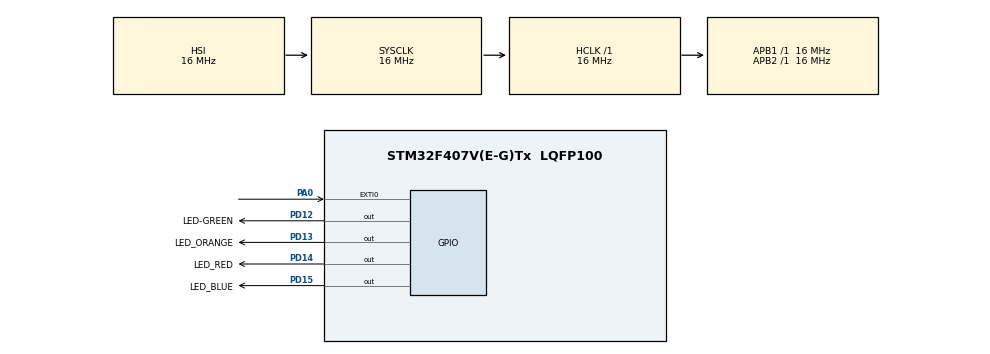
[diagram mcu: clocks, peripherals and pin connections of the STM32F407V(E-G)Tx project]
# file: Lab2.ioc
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Mcu.Family=STM32F4
Mcu.Name=STM32F407V(E-G)Tx
Mcu.Package=LQFP100
NVIC.EXTI0_IRQn=true\:0\:0\:false\:false\:true\:true\:true\:true
NVIC.PriorityGroup=NVIC_PRIORITYGROUP_4
PA0-WKUP.GPIO_ModeDefaultEXTI=GPIO_MODE_IT_RISING
PA0-WKUP.GPIO_PuPd=GPIO_PULLDOWN
PA0-WKUP.Signal=GPXTI0
PD12.GPIO_Label=LED-GREEN
PD12.GPIO_PuPd=GPIO_PULLDOWN
PD12.Signal=GPIO_Output
PD13.GPIO_Label=LED_ORANGE
PD13.GPIO_PuPd=GPIO_PULLDOWN
PD13.Signal=GPIO_Output
PD14.GPIO_Label=LED_RED
PD14.GPIO_PuPd=GPIO_PULLDOWN
PD14.Signal=GPIO_Output
PD15.GPIO_Label=LED_BLUE
PD15.GPIO_PuPd=GPIO_PULLDOWN
PD15.Signal=GPIO_Output
ProjectManager.HeapSize=0x200
ProjectManager.StackSize=0x400
ProjectManager.TargetToolchain=STM32CubeIDE
RCC.AHBFreq_Value=16000000
RCC.APB1Freq_Value=16000000
RCC.APB2Freq_Value=16000000
RCC.CortexFreq_Value=16000000
RCC.HSE_VALUE=25000000
RCC.HSI_VALUE=16000000
RCC.LSE_VALUE=32768
RCC.SYSCLKFreq_VALUE=16000000
RCC.VCOOutputFreq_Value=192000000
board=custom

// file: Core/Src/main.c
/* USER CODE BEGIN Header */
/**
  ******************************************************************************
  * @file           : main.c
  * @brief          : Main program body
  ******************************************************************************
  * @attention
  *
  * Copyright (c) 2024 STMicroelectronics.
  * All rights reserved.
  *
  * This software is licensed under terms that can be found in the LICENSE file
  * in the root directory of this software component.
  * If no LICENSE file comes with this software, it is provided AS-IS.
  *
  ******************************************************************************
  */
/* USER CODE END Header */
#include "main.h"

/* USER CODE BEGIN PD */
#define LED_SWITCH_DELAY (1000)
/* USER CODE END PD */

/* USER CODE BEGIN PV */
unsigned int ledN = 0;
/* USER CODE END PV */

void SystemClock_Config(void);
static void MX_GPIO_Init(void);

/* USER CODE BEGIN 0 */
void Blink(uint16_t GPIO_PIN){
		HAL_GPIO_WritePin(GPIOD, GPIO_PIN, GPIO_PIN_SET);
		HAL_Delay(250);
		HAL_GPIO_WritePin(GPIOD, GPIO_PIN, GPIO_PIN_RESET);
		HAL_Delay(250);
	}

void Round_Blink(){
	Blink(LED_BLUE_Pin);
	Blink(LED_GREEN_Pin);
	Blink(LED_ORANGE_Pin);
	Blink(LED_RED_Pin);
}
void Fan_Blink(){
	HAL_GPIO_WritePin(GPIOD, LED_BLUE_Pin, GPIO_PIN_SET);
	HAL_GPIO_WritePin(GPIOD, LED_ORANGE_Pin, GPIO_PIN_SET);
	HAL_Delay(250);
	HAL_GPIO_WritePin(GPIOD, LED_BLUE_Pin, GPIO_PIN_RESET);
	HAL_GPIO_WritePin(GPIOD, LED_ORANGE_Pin, GPIO_PIN_RESET);
	HAL_Delay(250);
	HAL_GPIO_WritePin(GPIOD, LED_GREEN_Pin, GPIO_PIN_SET);
	HAL_GPIO_WritePin(GPIOD, LED_RED_Pin, GPIO_PIN_SET);
	HAL_Delay(250);
	HAL_GPIO_WritePin(GPIOD, LED_GREEN_Pin, GPIO_PIN_RESET);
	HAL_GPIO_WritePin(GPIOD, LED_RED_Pin, GPIO_PIN_RESET);
	HAL_Delay(250);
}
void Blink_Diag()
{
	HAL_GPIO_WritePin(GPIOD, LED_BLUE_Pin, GPIO_PIN_SET);
	HAL_GPIO_WritePin(GPIOD, LED_GREEN_Pin, GPIO_PIN_SET);
	HAL_Delay(250);
	HAL_GPIO_WritePin(GPIOD, LED_BLUE_Pin, GPIO_PIN_RESET);
	HAL_GPIO_WritePin(GPIOD, LED_ORANGE_Pin, GPIO_PIN_SET);
	HAL_Delay(250);
	HAL_GPIO_WritePin(GPIOD, LED_GREEN_Pin, GPIO_PIN_RESET);
	HAL_GPIO_WritePin(GPIOD, LED_RED_Pin, GPIO_PIN_SET);
	HAL_Delay(250);
	HAL_GPIO_WritePin(GPIOD, LED_ORANGE_Pin, GPIO_PIN_RESET);
	HAL_GPIO_WritePin(GPIOD, LED_BLUE_Pin, GPIO_PIN_SET);
	HAL_Delay(250);
	HAL_GPIO_WritePin(GPIOD, LED_RED_Pin, GPIO_PIN_RESET);
}
void Whirl_Blink(){
	HAL_GPIO_WritePin(GPIOD, LED_BLUE_Pin, GPIO_PIN_SET);
	HAL_Delay(125);
	HAL_GPIO_WritePin(GPIOD, LED_GREEN_Pin, GPIO_PIN_SET);
	HAL_Delay(125);
	HAL_GPIO_WritePin(GPIOD, LED_ORANGE_Pin, GPIO_PIN_SET);
	HAL_Delay(125);
	HAL_GPIO_WritePin(GPIOD, LED_RED_Pin, GPIO_PIN_SET);
	HAL_Delay(125);
	HAL_GPIO_WritePin(GPIOD, LED_BLUE_Pin, GPIO_PIN_RESET);
	HAL_Delay(125);
	HAL_GPIO_WritePin(GPIOD, LED_GREEN_Pin, GPIO_PIN_RESET);
	HAL_Delay(125);
	HAL_GPIO_WritePin(GPIOD, LED_ORANGE_Pin, GPIO_PIN_RESET);
	HAL_Delay(125);
	HAL_GPIO_WritePin(GPIOD, LED_RED_Pin, GPIO_PIN_RESET);
	HAL_Delay(125);
}
/* USER CODE END 0 */

int main(void)
{

  /* MCU Configuration--------------------------------------------------------*/

  /* Reset of all peripherals, Initializes the Flash interface and the Systick. */
  HAL_Init();

  /* Configure the system clock */
  SystemClock_Config();

  /* Initialize all configured peripherals */
  MX_GPIO_Init();

  /* Infinite loop */
  while (1)
  {

    /* USER CODE BEGIN 3 */
		switch(ledN){
		case 0:
			Round_Blink();
			break;
		case 1:
			Fan_Blink();
			break;
		case 2:
			Blink_Diag();
			break;
		case 3:
			Whirl_Blink();
			break;
		}
  }
  /* USER CODE END 3 */
}

void SystemClock_Config(void)
{
  RCC_OscInitTypeDef RCC_OscInitStruct = {0};
  RCC_ClkInitTypeDef RCC_ClkInitStruct = {0};

  /** Configure the main internal regulator output voltage
  */
  __HAL_RCC_PWR_CLK_ENABLE();
  __HAL_PWR_VOLTAGESCALING_CONFIG(PWR_REGULATOR_VOLTAGE_SCALE1);

  /** Initializes the RCC Oscillators according to the specified parameters
  * in the RCC_OscInitTypeDef structure.
  */
  RCC_OscInitStruct.OscillatorType = RCC_OSCILLATORTYPE_HSI;
  RCC_OscInitStruct.HSIState = RCC_HSI_ON;
  RCC_OscInitStruct.HSICalibrationValue = RCC_HSICALIBRATION_DEFAULT;
  RCC_OscInitStruct.PLL.PLLState = RCC_PLL_NONE;
  if (HAL_RCC_OscConfig(&RCC_OscInitStruct) != HAL_OK)
  {
    Error_Handler();
  }

  /** Initializes the CPU, AHB and APB buses clocks
  */
  RCC_ClkInitStruct.ClockType = RCC_CLOCKTYPE_HCLK|RCC_CLOCKTYPE_SYSCLK
                              |RCC_CLOCKTYPE_PCLK1|RCC_CLOCKTYPE_PCLK2;
  RCC_ClkInitStruct.SYSCLKSource = RCC_SYSCLKSOURCE_HSI;
  RCC_ClkInitStruct.AHBCLKDivider = RCC_SYSCLK_DIV1;
  RCC_ClkInitStruct.APB1CLKDivider = RCC_HCLK_DIV1;
  RCC_ClkInitStruct.APB2CLKDivider = RCC_HCLK_DIV1;

  if (HAL_RCC_ClockConfig(&RCC_ClkInitStruct, FLASH_LATENCY_0) != HAL_OK)
  {
    Error_Handler();
  }
}

static void MX_GPIO_Init(void)
{
  GPIO_InitTypeDef GPIO_InitStruct = {0};

  /* GPIO Ports Clock Enable */
  __HAL_RCC_GPIOA_CLK_ENABLE();
  __HAL_RCC_GPIOD_CLK_ENABLE();

  /*Configure GPIO pin Output Level */
  HAL_GPIO_WritePin(GPIOD, LED_GREEN_Pin|LED_ORANGE_Pin|LED_RED_Pin|LED_BLUE_Pin, GPIO_PIN_RESET);

  /*Configure GPIO pin : PA0 */
  GPIO_InitStruct.Pin = GPIO_PIN_0;
  GPIO_InitStruct.Mode = GPIO_MODE_IT_RISING;
  GPIO_InitStruct.Pull = GPIO_PULLDOWN;
  HAL_GPIO_Init(GPIOA, &GPIO_InitStruct);

  /*Configure GPIO pins : LED_GREEN_Pin LED_ORANGE_Pin LED_RED_Pin LED_BLUE_Pin */
  GPIO_InitStruct.Pin = LED_GREEN_Pin|LED_ORANGE_Pin|LED_RED_Pin|LED_BLUE_Pin;
  GPIO_InitStruct.Mode = GPIO_MODE_OUTPUT_PP;
  GPIO_InitStruct.Pull = GPIO_PULLDOWN;
  GPIO_InitStruct.Speed = GPIO_SPEED_FREQ_LOW;
  HAL_GPIO_Init(GPIOD, &GPIO_InitStruct);

  /* EXTI interrupt init*/
  HAL_NVIC_SetPriority(EXTI0_IRQn, 0, 0);
  HAL_NVIC_EnableIRQ(EXTI0_IRQn);

}

void Error_Handler(void)
{
  __disable_irq();
  while (1)
  {
  }
}
